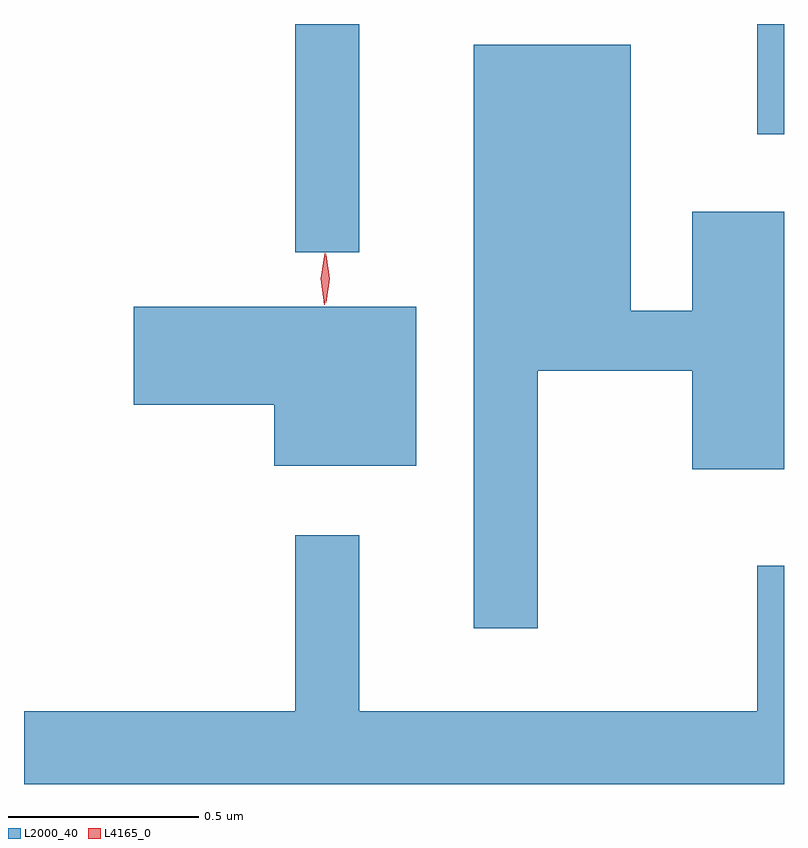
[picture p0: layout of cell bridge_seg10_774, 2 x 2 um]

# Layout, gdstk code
import gdstk
lib = gdstk.Library(unit=1e-6, precision=1e-09)
def R(c, l, rs):  # rectangles x0, y0, x1, y1
    for r in rs: c.add(gdstk.rectangle(r[:2], r[2:], *l))
def P(c, l, *ps):  # polygons
    for p in ps: c.add(gdstk.Polygon(p, *l))
L2000_40 = (2000, 40)
L4165_0 = (4165, 0)

bridge_seg10_774 = lib.new_cell('bridge_seg10_774')
R(bridge_seg10_774, L2000_40, [(530.961,2157.573,531.129,2158.173), (532.176,2157.883,532.247,2158.173)])
P(bridge_seg10_774, L2000_40, [(531.599,2157.261),(532.006,2157.261),(532.006,2157.001),(532.247,2157.001),(532.247,2157.679),(532.006,2157.679),(532.006,2157.419),(531.844,2157.419),(531.844,2158.119),(531.431,2158.119),(531.431,2156.583),(531.599,2156.583)],
  [(531.279,2157.429),(530.536,2157.429),(530.536,2157.171),(530.906,2157.171),(530.906,2157.011),(531.279,2157.011)],
  [(532.247,2156.748),(532.176,2156.748),(532.176,2156.364),(531.129,2156.364),(531.129,2156.828),(530.961,2156.828),(530.961,2156.364),(530.247,2156.364),(530.247,2156.173),(532.247,2156.173)])
P(bridge_seg10_774, L4165_0, [(531.037,2157.434),(531.028,2157.502),(531.039,2157.57),(531.039,2157.57),(531.04,2157.57),(531.048,2157.502),(531.038,2157.434),(531.038,2157.434)],
  [(531.042,2157.44),(531.042,2157.44),(531.032,2157.503),(531.042,2157.566),(531.042,2157.567),(531.043,2157.566),(531.052,2157.503),(531.043,2157.44)])

lib.write_gds('bridge_seg10_774.gds')
